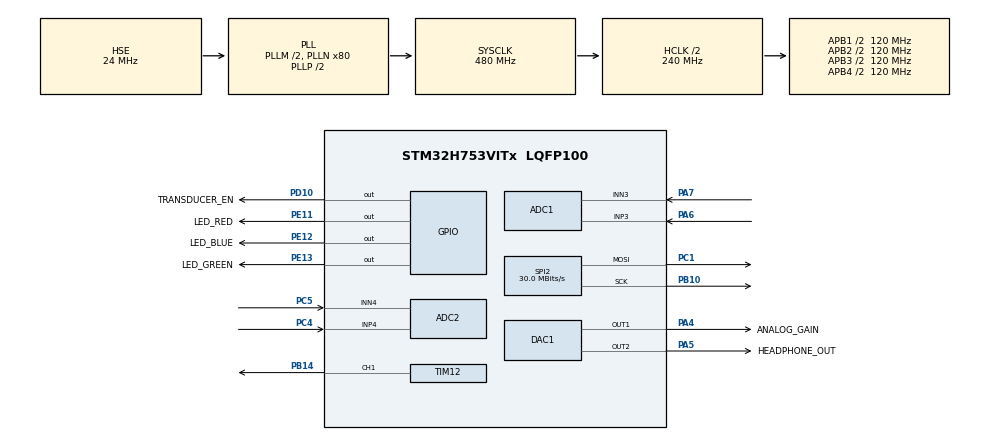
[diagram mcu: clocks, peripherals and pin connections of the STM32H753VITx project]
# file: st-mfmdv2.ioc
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ADC1.Channel-0\#ChannelRegularConversion=ADC_CHANNEL_3
ADC1.NbrOfConversionFlag=1
ADC1.OffsetNumber-0\#ChannelRegularConversion=ADC_OFFSET_NONE
ADC1.OffsetSignedSaturation-0\#ChannelRegularConversion=DISABLE
ADC1.Rank-0\#ChannelRegularConversion=1
ADC1.SamplingTime-0\#ChannelRegularConversion=ADC_SAMPLETIME_8CYCLES_5
ADC1.SingleDiff-0\#ChannelRegularConversion=ADC_DIFFERENTIAL_ENDED
ADC1.master=1
ADC2.Channel-0\#ChannelRegularConversion=ADC_CHANNEL_4
ADC2.ClockPrescaler=ADC_CLOCK_ASYNC_DIV1
ADC2.NbrOfConversionFlag=1
ADC2.OffsetNumber-0\#ChannelRegularConversion=ADC_OFFSET_NONE
ADC2.OffsetSignedSaturation-0\#ChannelRegularConversion=DISABLE
ADC2.Rank-0\#ChannelRegularConversion=1
ADC2.SamplingTime-0\#ChannelRegularConversion=ADC_SAMPLETIME_8CYCLES_5
ADC2.SingleDiff-0\#ChannelRegularConversion=ADC_DIFFERENTIAL_ENDED
CORTEX_M7.default_mode_Activation=1
DAC1.DAC_Channel-DAC_OUT1=DAC_CHANNEL_1
DAC1.DAC_Channel-DAC_OUT2=DAC_CHANNEL_2
Mcu.Family=STM32H7
Mcu.Name=STM32H753VITx
Mcu.Package=LQFP100
NVIC.PriorityGroup=NVIC_PRIORITYGROUP_4
NVIC.TIM6_DAC_IRQn=true\:15\:0\:false\:false\:true\:false\:true\:true
NVIC.TIM8_BRK_TIM12_IRQn=true\:0\:0\:false\:false\:true\:true\:true\:true
NVIC.TimeBase=TIM6_DAC_IRQn
NVIC.TimeBaseIP=TIM6
PA4.GPIO_Label=ANALOG_GAIN
PA4.Signal=COMP_DAC11_group
PA5.GPIO_Label=HEADPHONE_OUT
PA5.Signal=COMP_DAC12_group
PA6.Signal=ADCx_INP3
PA7.Signal=ADCx_INN3
PB10.GPIO_Speed=GPIO_SPEED_FREQ_MEDIUM
PB10.Mode=TX_Only_Simplex_Unidirect_Master
PB10.Signal=SPI2_SCK
PB14.GPIO_Speed=GPIO_SPEED_FREQ_VERY_HIGH
PB14.Signal=S_TIM12_CH1
PC1.GPIO_Speed=GPIO_SPEED_FREQ_MEDIUM
PC1.Mode=TX_Only_Simplex_Unidirect_Master
PC1.Signal=SPI2_MOSI
PC4.Signal=ADCx_INP4
PC5.Signal=ADCx_INN4
PD10.GPIO_Label=TRANSDUCER_EN
PD10.GPIO_Speed=GPIO_SPEED_FREQ_MEDIUM
PD10.Signal=GPIO_Output
PE11.GPIO_Label=LED_RED
PE11.GPIO_Speed=GPIO_SPEED_FREQ_VERY_HIGH
PE11.Signal=GPIO_Output
PE12.GPIO_Label=LED_BLUE
PE12.GPIO_Speed=GPIO_SPEED_FREQ_VERY_HIGH
PE12.Signal=GPIO_Output
PE13.GPIO_Label=LED_GREEN
PE13.GPIO_Speed=GPIO_SPEED_FREQ_VERY_HIGH
PE13.Signal=GPIO_Output
PH0-OSC_IN\ (PH0).Mode=HSE-External-Clock-Source
PH0-OSC_IN\ (PH0).Signal=RCC_OSC_IN
ProjectManager.HeapSize=0x2000
ProjectManager.StackSize=0x4000
ProjectManager.TargetToolchain=CMake
RCC.ADCCLockSelection=RCC_ADCCLKSOURCE_PLL3
RCC.ADCFreq_Value=15000000
RCC.APB1Freq_Value=120000000
RCC.APB2Freq_Value=120000000
RCC.APB3Freq_Value=120000000
RCC.APB4Freq_Value=120000000
RCC.CortexFreq_Value=480000000
RCC.D1PPRE=RCC_APB3_DIV2
RCC.D2PPRE1=RCC_APB1_DIV2
RCC.D2PPRE2=RCC_APB2_DIV2
RCC.D3PPRE=RCC_APB4_DIV2
RCC.DIVM1=2
RCC.DIVM2=2
RCC.DIVM3=2
RCC.DIVN1=80
RCC.DIVN2=40
RCC.DIVN3=20
RCC.DIVP2=4
RCC.DIVR3=16
RCC.HCLKFreq_Value=240000000
RCC.HPRE=RCC_HCLK_DIV2
RCC.HSE_VALUE=24000000
RCC.PLL2FRACN=0
RCC.PLL3FRACN=0
RCC.PLLFRACN=0
RCC.PLLSourceVirtual=RCC_PLLSOURCE_HSE
RCC.SPI123CLockSelection=RCC_SPI123CLKSOURCE_PLL2
RCC.SYSCLKFreq_VALUE=480000000
RCC.SYSCLKSource=RCC_SYSCLKSOURCE_PLLCLK
RCC.USBFreq_Value=480000000
SH.ADCx_INN3.0=ADC1_INN3,IN3-Differential
SH.ADCx_INN4.0=ADC2_INN4,IN4-Differential
SH.ADCx_INP3.0=ADC1_INP3,IN3-Differential
SH.ADCx_INP4.0=ADC2_INP4,IN4-Differential
SH.COMP_DAC11_group.0=DAC1_OUT1,DAC_OUT1
SH.COMP_DAC12_group.0=DAC1_OUT2,DAC_OUT2
SH.S_TIM12_CH1.0=TIM12_CH1,PWM Generation1 CH1
SPI2.BaudRatePrescaler=SPI_BAUDRATEPRESCALER_4
SPI2.CLKPhase=SPI_PHASE_2EDGE
SPI2.CalculateBaudRate=30.0 MBits/s
SPI2.DataSize=SPI_DATASIZE_16BIT
SPI2.Direction=SPI_DIRECTION_2LINES_TXONLY
SPI2.Mode=SPI_MODE_MASTER
SPI2.VirtualType=VM_MASTER
TIM12.AutoReloadPreload=TIM_AUTORELOAD_PRELOAD_ENABLE
TIM12.Channel-PWM\ Generation1\ CH1=TIM_CHANNEL_1
TIM12.OCMode_PWM-PWM\ Generation1\ CH1=TIM_OCMODE_PWM1
TIM12.Period=287
TIM12.Pulse-PWM\ Generation1\ CH1=20
VP_MEMORYMAP_VS_MEMORYMAP.Mode=CurAppReg
VP_SYS_VS_tim6.Mode=TIM6
VP_TIM12_VS_ClockSourceINT.Mode=Internal
board=custom

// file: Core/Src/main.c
/* USER CODE BEGIN Header */
/**
  ******************************************************************************
  * @file           : main.c
  * @brief          : Main program body
  ******************************************************************************
  * @attention
  *
  * Copyright (c) 2024 STMicroelectronics.
  * All rights reserved.
  *
  * This software is licensed under terms that can be found in the LICENSE file
  * in the root directory of this software component.
  * If no LICENSE file comes with this software, it is provided AS-IS.
  *
  ******************************************************************************
  */
/* USER CODE END Header */
#include "main.h"

/* USER CODE BEGIN Includes */
#include <math.h>
#include <stdlib.h>
/* USER CODE END Includes */

/* USER CODE BEGIN PD */
#define NUM_SAMPLES 2U
/* USER CODE END PD */

ADC_HandleTypeDef hadc1;
ADC_HandleTypeDef hadc2;

DAC_HandleTypeDef hdac1;

SPI_HandleTypeDef hspi2;

TIM_HandleTypeDef htim12;

void SystemClock_Config(void);
void PeriphCommonClock_Config(void);
static void MPU_Config(void);
static void MX_GPIO_Init(void);
static void MX_ADC1_Init(void);
static void MX_ADC2_Init(void);
static void MX_SPI2_Init(void);
static void MX_TIM12_Init(void);
static void MX_DAC1_Init(void);

/* USER CODE BEGIN 0 */
const uint32_t numSamp = NUM_SAMPLES;
/*alignas(32) __attribute__((section(".user_axi_d1_sram0")))*/ uint32_t samples[NUM_SAMPLES] /*=
{
0x1000, 0x1500, 0x2000, 0x1500
}*/;

/* USER CODE END 0 */

int main(void)
{

  /* MPU Configuration--------------------------------------------------------*/
  MPU_Config();

  /* MCU Configuration--------------------------------------------------------*/

  /* Reset of all peripherals, Initializes the Flash interface and the Systick. */
  HAL_Init();

  /* Configure the system clock */
  SystemClock_Config();

  /* Configure the peripherals common clocks */
  PeriphCommonClock_Config();

  /* Initialize all configured peripherals */
  MX_GPIO_Init();
  MX_ADC1_Init();
  MX_ADC2_Init();
  MX_SPI2_Init();
  MX_TIM12_Init();
  MX_DAC1_Init();
  /* USER CODE BEGIN 2 */

  for(uint32_t i = 0; i < numSamp; i++)
  {
    float theta = (2.0 * M_PI * i)/numSamp;
    float sinval = sin(theta);
    //uint32_t sampleval = (int32_t)(sinval * 0x2000) + 0x2000;
    uint32_t sampleval = i < (numSamp / 2U) ? 0x3000U : 0x1000U;
    // uint16_t sampleval = 0;
    //samples[i] = ((double)0x1000) * sin( 2.0 * M_PI * ((double)i)/8192.0) + ((double)0x2000);
    samples[i] = sampleval;
    // samples[i] = 0;
  }

  HAL_DAC_Start(&hdac1, DAC_CHANNEL_1);
  HAL_DAC_Start(&hdac1, DAC_CHANNEL_2);
  HAL_DAC_SetValue(&hdac1, DAC_CHANNEL_1, DAC_ALIGN_12B_R, 0);
  HAL_ADCEx_Calibration_Start(&hadc2, ADC_CALIB_OFFSET_LINEARITY, ADC_DIFFERENTIAL_ENDED);
  HAL_ADC_Start(&hadc2);
  HAL_ADCEx_Calibration_Start(&hadc1, ADC_CALIB_OFFSET_LINEARITY, ADC_DIFFERENTIAL_ENDED);
  HAL_ADC_Start(&hadc1);

  HAL_TIM_PWM_Start(&htim12, TIM_CHANNEL_1);
  __HAL_TIM_ENABLE_IT(&htim12, TIM_IT_UPDATE);

    MODIFY_REG(hspi2.Instance->CR2, SPI_CR2_TSIZE, 0);
    __HAL_SPI_ENABLE(&hspi2);
    SET_BIT(hspi2.Instance->CR1, SPI_CR1_CSTART);

    const SPI_HandleTypeDef *hspi = &hspi2;

    __IO uint16_t *ptxdr_16bits = (__IO uint16_t *)(&(hspi->Instance->TXDR));
    *ptxdr_16bits = (uint16_t)0x2000U;

  // TRANSDUCER EN
  GPIOD->BSRR = 1U << 10;

  HAL_Delay(2000);

  /* USER CODE END 2 */

  /* Infinite loop */
  while (1)
  {

    /* USER CODE BEGIN 3 */
    //HAL_Delay(500);
    if(HAL_GetTick() % 1000 == 500)
    {
        GPIOE->BSRR = 1U << 13;
    }
    //HAL_Delay(500);
    if(HAL_GetTick() % 1000 == 0)
    {
        GPIOE->BSRR = 1U << (13+16);
    }
    HAL_PWR_EnableSleepOnExit();
    HAL_PWR_EnterSLEEPMode(PWR_MAINREGULATOR_ON, PWR_SLEEPENTRY_WFI);
  }
  /* USER CODE END 3 */
}

void SystemClock_Config(void)
{
  RCC_OscInitTypeDef RCC_OscInitStruct = {0};
  RCC_ClkInitTypeDef RCC_ClkInitStruct = {0};

  /** Supply configuration update enable
  */
  HAL_PWREx_ConfigSupply(PWR_LDO_SUPPLY);

  /** Configure the main internal regulator output voltage
  */
  __HAL_PWR_VOLTAGESCALING_CONFIG(PWR_REGULATOR_VOLTAGE_SCALE1);

  while(!__HAL_PWR_GET_FLAG(PWR_FLAG_VOSRDY)) {}

  __HAL_RCC_SYSCFG_CLK_ENABLE();
  __HAL_PWR_VOLTAGESCALING_CONFIG(PWR_REGULATOR_VOLTAGE_SCALE0);

  while(!__HAL_PWR_GET_FLAG(PWR_FLAG_VOSRDY)) {}

  /** Initializes the RCC Oscillators according to the specified parameters
  * in the RCC_OscInitTypeDef structure.
  */
  RCC_OscInitStruct.OscillatorType = RCC_OSCILLATORTYPE_HSE;
  RCC_OscInitStruct.HSEState = RCC_HSE_BYPASS;
  RCC_OscInitStruct.PLL.PLLState = RCC_PLL_ON;
  RCC_OscInitStruct.PLL.PLLSource = RCC_PLLSOURCE_HSE;
  RCC_OscInitStruct.PLL.PLLM = 2;
  RCC_OscInitStruct.PLL.PLLN = 80;
  RCC_OscInitStruct.PLL.PLLP = 2;
  RCC_OscInitStruct.PLL.PLLQ = 2;
  RCC_OscInitStruct.PLL.PLLR = 2;
  RCC_OscInitStruct.PLL.PLLRGE = RCC_PLL1VCIRANGE_3;
  RCC_OscInitStruct.PLL.PLLVCOSEL = RCC_PLL1VCOWIDE;
  RCC_OscInitStruct.PLL.PLLFRACN = 0;
  if (HAL_RCC_OscConfig(&RCC_OscInitStruct) != HAL_OK)
  {
    Error_Handler();
  }

  /** Initializes the CPU, AHB and APB buses clocks
  */
  RCC_ClkInitStruct.ClockType = RCC_CLOCKTYPE_HCLK|RCC_CLOCKTYPE_SYSCLK
                              |RCC_CLOCKTYPE_PCLK1|RCC_CLOCKTYPE_PCLK2
                              |RCC_CLOCKTYPE_D3PCLK1|RCC_CLOCKTYPE_D1PCLK1;
  RCC_ClkInitStruct.SYSCLKSource = RCC_SYSCLKSOURCE_PLLCLK;
  RCC_ClkInitStruct.SYSCLKDivider = RCC_SYSCLK_DIV1;
  RCC_ClkInitStruct.AHBCLKDivider = RCC_HCLK_DIV2;
  RCC_ClkInitStruct.APB3CLKDivider = RCC_APB3_DIV2;
  RCC_ClkInitStruct.APB1CLKDivider = RCC_APB1_DIV2;
  RCC_ClkInitStruct.APB2CLKDivider = RCC_APB2_DIV2;
  RCC_ClkInitStruct.APB4CLKDivider = RCC_APB4_DIV2;

  if (HAL_RCC_ClockConfig(&RCC_ClkInitStruct, FLASH_LATENCY_4) != HAL_OK)
  {
    Error_Handler();
  }
}

void PeriphCommonClock_Config(void)
{
  RCC_PeriphCLKInitTypeDef PeriphClkInitStruct = {0};

  /** Initializes the peripherals clock
  */
  PeriphClkInitStruct.PeriphClockSelection = RCC_PERIPHCLK_ADC;
  PeriphClkInitStruct.PLL3.PLL3M = 2;
  PeriphClkInitStruct.PLL3.PLL3N = 20;
  PeriphClkInitStruct.PLL3.PLL3P = 2;
  PeriphClkInitStruct.PLL3.PLL3Q = 2;
  PeriphClkInitStruct.PLL3.PLL3R = 16;
  PeriphClkInitStruct.PLL3.PLL3RGE = RCC_PLL3VCIRANGE_3;
  PeriphClkInitStruct.PLL3.PLL3VCOSEL = RCC_PLL3VCOWIDE;
  PeriphClkInitStruct.PLL3.PLL3FRACN = 0;
  PeriphClkInitStruct.AdcClockSelection = RCC_ADCCLKSOURCE_PLL3;
  if (HAL_RCCEx_PeriphCLKConfig(&PeriphClkInitStruct) != HAL_OK)
  {
    Error_Handler();
  }
}

static void MX_ADC1_Init(void)
{

  ADC_MultiModeTypeDef multimode = {0};
  ADC_ChannelConfTypeDef sConfig = {0};

  /** Common config
  */
  hadc1.Instance = ADC1;
  hadc1.Init.ScanConvMode = ADC_SCAN_DISABLE;
  hadc1.Init.EOCSelection = ADC_EOC_SINGLE_CONV;
  hadc1.Init.LowPowerAutoWait = DISABLE;
  hadc1.Init.ContinuousConvMode = DISABLE;
  hadc1.Init.NbrOfConversion = 1;
  hadc1.Init.DiscontinuousConvMode = DISABLE;
  hadc1.Init.ExternalTrigConv = ADC_SOFTWARE_START;
  hadc1.Init.ExternalTrigConvEdge = ADC_EXTERNALTRIGCONVEDGE_NONE;
  hadc1.Init.ConversionDataManagement = ADC_CONVERSIONDATA_DR;
  hadc1.Init.Overrun = ADC_OVR_DATA_PRESERVED;
  hadc1.Init.LeftBitShift = ADC_LEFTBITSHIFT_NONE;
  hadc1.Init.OversamplingMode = DISABLE;
  hadc1.Init.Oversampling.Ratio = 1;
  if (HAL_ADC_Init(&hadc1) != HAL_OK)
  {
    Error_Handler();
  }
  hadc1.Init.ClockPrescaler = ADC_CLOCK_ASYNC_DIV1;
  hadc1.Init.Resolution = ADC_RESOLUTION_16B;
  if (HAL_ADC_Init(&hadc1) != HAL_OK)
  {
    Error_Handler();
  }

  /** Configure the ADC multi-mode
  */
  multimode.Mode = ADC_MODE_INDEPENDENT;
  if (HAL_ADCEx_MultiModeConfigChannel(&hadc1, &multimode) != HAL_OK)
  {
    Error_Handler();
  }

  /** Configure Regular Channel
  */
  sConfig.Channel = ADC_CHANNEL_3;
  sConfig.Rank = ADC_REGULAR_RANK_1;
  sConfig.SamplingTime = ADC_SAMPLETIME_8CYCLES_5;
  sConfig.SingleDiff = ADC_DIFFERENTIAL_ENDED;
  sConfig.OffsetNumber = ADC_OFFSET_NONE;
  sConfig.Offset = 0;
  sConfig.OffsetSignedSaturation = DISABLE;
  if (HAL_ADC_ConfigChannel(&hadc1, &sConfig) != HAL_OK)
  {
    Error_Handler();
  }

}

static void MX_ADC2_Init(void)
{

  ADC_ChannelConfTypeDef sConfig = {0};

  /** Common config
  */
  hadc2.Instance = ADC2;
  hadc2.Init.ScanConvMode = ADC_SCAN_DISABLE;
  hadc2.Init.EOCSelection = ADC_EOC_SINGLE_CONV;
  hadc2.Init.LowPowerAutoWait = DISABLE;
  hadc2.Init.ContinuousConvMode = DISABLE;
  hadc2.Init.NbrOfConversion = 1;
  hadc2.Init.DiscontinuousConvMode = DISABLE;
  hadc2.Init.ExternalTrigConv = ADC_SOFTWARE_START;
  hadc2.Init.ExternalTrigConvEdge = ADC_EXTERNALTRIGCONVEDGE_NONE;
  hadc2.Init.ConversionDataManagement = ADC_CONVERSIONDATA_DR;
  hadc2.Init.Overrun = ADC_OVR_DATA_PRESERVED;
  hadc2.Init.LeftBitShift = ADC_LEFTBITSHIFT_NONE;
  hadc2.Init.OversamplingMode = DISABLE;
  hadc2.Init.Oversampling.Ratio = 1;
  if (HAL_ADC_Init(&hadc2) != HAL_OK)
  {
    Error_Handler();
  }
  hadc2.Init.ClockPrescaler = ADC_CLOCK_ASYNC_DIV1;
  hadc2.Init.Resolution = ADC_RESOLUTION_16B;
  if (HAL_ADC_Init(&hadc2) != HAL_OK)
  {
    Error_Handler();
  }

  /** Configure Regular Channel
  */
  sConfig.Channel = ADC_CHANNEL_4;
  sConfig.Rank = ADC_REGULAR_RANK_1;
  sConfig.SamplingTime = ADC_SAMPLETIME_8CYCLES_5;
  sConfig.SingleDiff = ADC_DIFFERENTIAL_ENDED;
  sConfig.OffsetNumber = ADC_OFFSET_NONE;
  sConfig.Offset = 0;
  sConfig.OffsetSignedSaturation = DISABLE;
  if (HAL_ADC_ConfigChannel(&hadc2, &sConfig) != HAL_OK)
  {
    Error_Handler();
  }

}

static void MX_DAC1_Init(void)
{

  DAC_ChannelConfTypeDef sConfig = {0};

  /** DAC Initialization
  */
  hdac1.Instance = DAC1;
  if (HAL_DAC_Init(&hdac1) != HAL_OK)
  {
    Error_Handler();
  }

  /** DAC channel OUT1 config
  */
  sConfig.DAC_SampleAndHold = DAC_SAMPLEANDHOLD_DISABLE;
  sConfig.DAC_Trigger = DAC_TRIGGER_NONE;
  sConfig.DAC_OutputBuffer = DAC_OUTPUTBUFFER_ENABLE;
  sConfig.DAC_ConnectOnChipPeripheral = DAC_CHIPCONNECT_DISABLE;
  sConfig.DAC_UserTrimming = DAC_TRIMMING_FACTORY;
  if (HAL_DAC_ConfigChannel(&hdac1, &sConfig, DAC_CHANNEL_1) != HAL_OK)
  {
    Error_Handler();
  }

  /** DAC channel OUT2 config
  */
  if (HAL_DAC_ConfigChannel(&hdac1, &sConfig, DAC_CHANNEL_2) != HAL_OK)
  {
    Error_Handler();
  }

}

static void MX_SPI2_Init(void)
{

  /* SPI2 parameter configuration*/
  hspi2.Instance = SPI2;
  hspi2.Init.Mode = SPI_MODE_MASTER;
  hspi2.Init.Direction = SPI_DIRECTION_2LINES_TXONLY;
  hspi2.Init.DataSize = SPI_DATASIZE_16BIT;
  hspi2.Init.CLKPolarity = SPI_POLARITY_LOW;
  hspi2.Init.CLKPhase = SPI_PHASE_2EDGE;
  hspi2.Init.NSS = SPI_NSS_SOFT;
  hspi2.Init.BaudRatePrescaler = SPI_BAUDRATEPRESCALER_4;
  hspi2.Init.FirstBit = SPI_FIRSTBIT_MSB;
  hspi2.Init.TIMode = SPI_TIMODE_DISABLE;
  hspi2.Init.CRCCalculation = SPI_CRCCALCULATION_DISABLE;
  hspi2.Init.CRCPolynomial = 0x0;
  hspi2.Init.NSSPMode = SPI_NSS_PULSE_ENABLE;
  hspi2.Init.NSSPolarity = SPI_NSS_POLARITY_LOW;
  hspi2.Init.FifoThreshold = SPI_FIFO_THRESHOLD_01DATA;
  hspi2.Init.TxCRCInitializationPattern = SPI_CRC_INITIALIZATION_ALL_ZERO_PATTERN;
  hspi2.Init.RxCRCInitializationPattern = SPI_CRC_INITIALIZATION_ALL_ZERO_PATTERN;
  hspi2.Init.MasterSSIdleness = SPI_MASTER_SS_IDLENESS_00CYCLE;
  hspi2.Init.MasterInterDataIdleness = SPI_MASTER_INTERDATA_IDLENESS_00CYCLE;
  hspi2.Init.MasterReceiverAutoSusp = SPI_MASTER_RX_AUTOSUSP_DISABLE;
  hspi2.Init.MasterKeepIOState = SPI_MASTER_KEEP_IO_STATE_DISABLE;
  hspi2.Init.IOSwap = SPI_IO_SWAP_DISABLE;
  if (HAL_SPI_Init(&hspi2) != HAL_OK)
  {
    Error_Handler();
  }

}

static void MX_TIM12_Init(void)
{

  TIM_ClockConfigTypeDef sClockSourceConfig = {0};
  TIM_MasterConfigTypeDef sMasterConfig = {0};
  TIM_OC_InitTypeDef sConfigOC = {0};

  htim12.Instance = TIM12;
  htim12.Init.Prescaler = 0;
  htim12.Init.CounterMode = TIM_COUNTERMODE_UP;
  htim12.Init.Period = 287;
  htim12.Init.ClockDivision = TIM_CLOCKDIVISION_DIV1;
  htim12.Init.AutoReloadPreload = TIM_AUTORELOAD_PRELOAD_ENABLE;
  if (HAL_TIM_Base_Init(&htim12) != HAL_OK)
  {
    Error_Handler();
  }
  sClockSourceConfig.ClockSource = TIM_CLOCKSOURCE_INTERNAL;
  if (HAL_TIM_ConfigClockSource(&htim12, &sClockSourceConfig) != HAL_OK)
  {
    Error_Handler();
  }
  if (HAL_TIM_PWM_Init(&htim12) != HAL_OK)
  {
    Error_Handler();
  }
  sMasterConfig.MasterOutputTrigger = TIM_TRGO_RESET;
  sMasterConfig.MasterSlaveMode = TIM_MASTERSLAVEMODE_DISABLE;
  if (HAL_TIMEx_MasterConfigSynchronization(&htim12, &sMasterConfig) != HAL_OK)
  {
    Error_Handler();
  }
  sConfigOC.OCMode = TIM_OCMODE_PWM1;
  sConfigOC.Pulse = 20;
  sConfigOC.OCPolarity = TIM_OCPOLARITY_HIGH;
  sConfigOC.OCFastMode = TIM_OCFAST_DISABLE;
  if (HAL_TIM_PWM_ConfigChannel(&htim12, &sConfigOC, TIM_CHANNEL_1) != HAL_OK)
  {
    Error_Handler();
  }
  HAL_TIM_MspPostInit(&htim12);

}

static void MX_GPIO_Init(void)
{
  GPIO_InitTypeDef GPIO_InitStruct = {0};

  /* GPIO Ports Clock Enable */
  __HAL_RCC_GPIOH_CLK_ENABLE();
  __HAL_RCC_GPIOC_CLK_ENABLE();
  __HAL_RCC_GPIOA_CLK_ENABLE();
  __HAL_RCC_GPIOE_CLK_ENABLE();
  __HAL_RCC_GPIOB_CLK_ENABLE();
  __HAL_RCC_GPIOD_CLK_ENABLE();

  /*Configure GPIO pin Output Level */
  HAL_GPIO_WritePin(GPIOE, LED_RED_Pin|LED_BLUE_Pin|LED_GREEN_Pin, GPIO_PIN_RESET);

  /*Configure GPIO pin Output Level */
  HAL_GPIO_WritePin(TRANSDUCER_EN_GPIO_Port, TRANSDUCER_EN_Pin, GPIO_PIN_RESET);

  /*Configure GPIO pins : LED_RED_Pin LED_BLUE_Pin LED_GREEN_Pin */
  GPIO_InitStruct.Pin = LED_RED_Pin|LED_BLUE_Pin|LED_GREEN_Pin;
  GPIO_InitStruct.Mode = GPIO_MODE_OUTPUT_PP;
  GPIO_InitStruct.Pull = GPIO_NOPULL;
  GPIO_InitStruct.Speed = GPIO_SPEED_FREQ_VERY_HIGH;
  HAL_GPIO_Init(GPIOE, &GPIO_InitStruct);

  /*Configure GPIO pin : TRANSDUCER_EN_Pin */
  GPIO_InitStruct.Pin = TRANSDUCER_EN_Pin;
  GPIO_InitStruct.Mode = GPIO_MODE_OUTPUT_PP;
  GPIO_InitStruct.Pull = GPIO_NOPULL;
  GPIO_InitStruct.Speed = GPIO_SPEED_FREQ_MEDIUM;
  HAL_GPIO_Init(TRANSDUCER_EN_GPIO_Port, &GPIO_InitStruct);

}

 /* MPU Configuration */

void MPU_Config(void)
{
  MPU_Region_InitTypeDef MPU_InitStruct = {0};

  /* Disables the MPU */
  HAL_MPU_Disable();

  /** Initializes and configures the Region and the memory to be protected
  */
  MPU_InitStruct.Enable = MPU_REGION_ENABLE;
  MPU_InitStruct.Number = MPU_REGION_NUMBER0;
  MPU_InitStruct.BaseAddress = 0x0;
  MPU_InitStruct.Size = MPU_REGION_SIZE_4GB;
  MPU_InitStruct.SubRegionDisable = 0x87;
  MPU_InitStruct.TypeExtField = MPU_TEX_LEVEL0;
  MPU_InitStruct.AccessPermission = MPU_REGION_NO_ACCESS;
  MPU_InitStruct.DisableExec = MPU_INSTRUCTION_ACCESS_DISABLE;
  MPU_InitStruct.IsShareable = MPU_ACCESS_SHAREABLE;
  MPU_InitStruct.IsCacheable = MPU_ACCESS_NOT_CACHEABLE;
  MPU_InitStruct.IsBufferable = MPU_ACCESS_NOT_BUFFERABLE;

  HAL_MPU_ConfigRegion(&MPU_InitStruct);
  /* Enables the MPU */
  HAL_MPU_Enable(MPU_PRIVILEGED_DEFAULT);

}

void HAL_TIM_PeriodElapsedCallback(TIM_HandleTypeDef *htim)
{
  if (htim->Instance == TIM6) {
    HAL_IncTick();
  }
}

void Error_Handler(void)
{
  __disable_irq();
  while (1)
  {
  }
}
